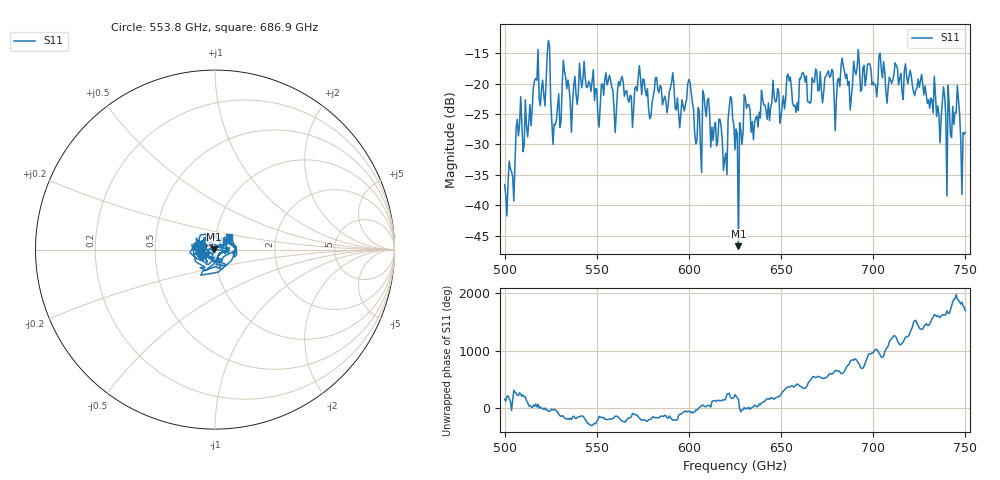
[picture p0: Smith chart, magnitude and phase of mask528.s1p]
!Created with skrf (http://scikit-rf.org).
# GHz S MA R 50.0
!freq magS11 angS11
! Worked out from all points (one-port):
!   401 points, 500 GHz to 750 GHz, reference 50 ohm
!   lowest |S11| = -46.7 dB at 626.9 GHz (marker M1), VSWR 1.01, Z = 49.6 + j0.224 ohm
!   |S11| at or under -10 dB: start of sweep to end of sweep
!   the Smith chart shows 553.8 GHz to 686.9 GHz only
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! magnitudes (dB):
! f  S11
! 500 GHz  -36.6
! 516.9 GHz  -19.2
! 520.6 GHz  -19.4
! 523.8 GHz  -12.9
! 526.9 GHz  -26.7
! 531.2 GHz  -20.1
! 560 GHz  -28.0
! 562.5 GHz  -20.4
! 579.4 GHz  -25.4
! 590.6 GHz  -19.7
! 593.8 GHz  -22.4
! 600.6 GHz  -19.8
! 605.6 GHz  -24.4
! 608.8 GHz  -24.0
! 619.4 GHz  -32.4
! 622.5 GHz  -22.1
! 625 GHz  -30.9
! 626.9 GHz  -46.7
! 631.2 GHz  -24.1
! 635 GHz  -29.2
! 656.2 GHz  -23.3
! 676.9 GHz  -18.8
! 680 GHz  -22.7
! 683.8 GHz  -17.1
! 687.5 GHz  -24.3
! 690.6 GHz  -18.5
! 718.8 GHz  -20.0
! 750 GHz  -28.0
